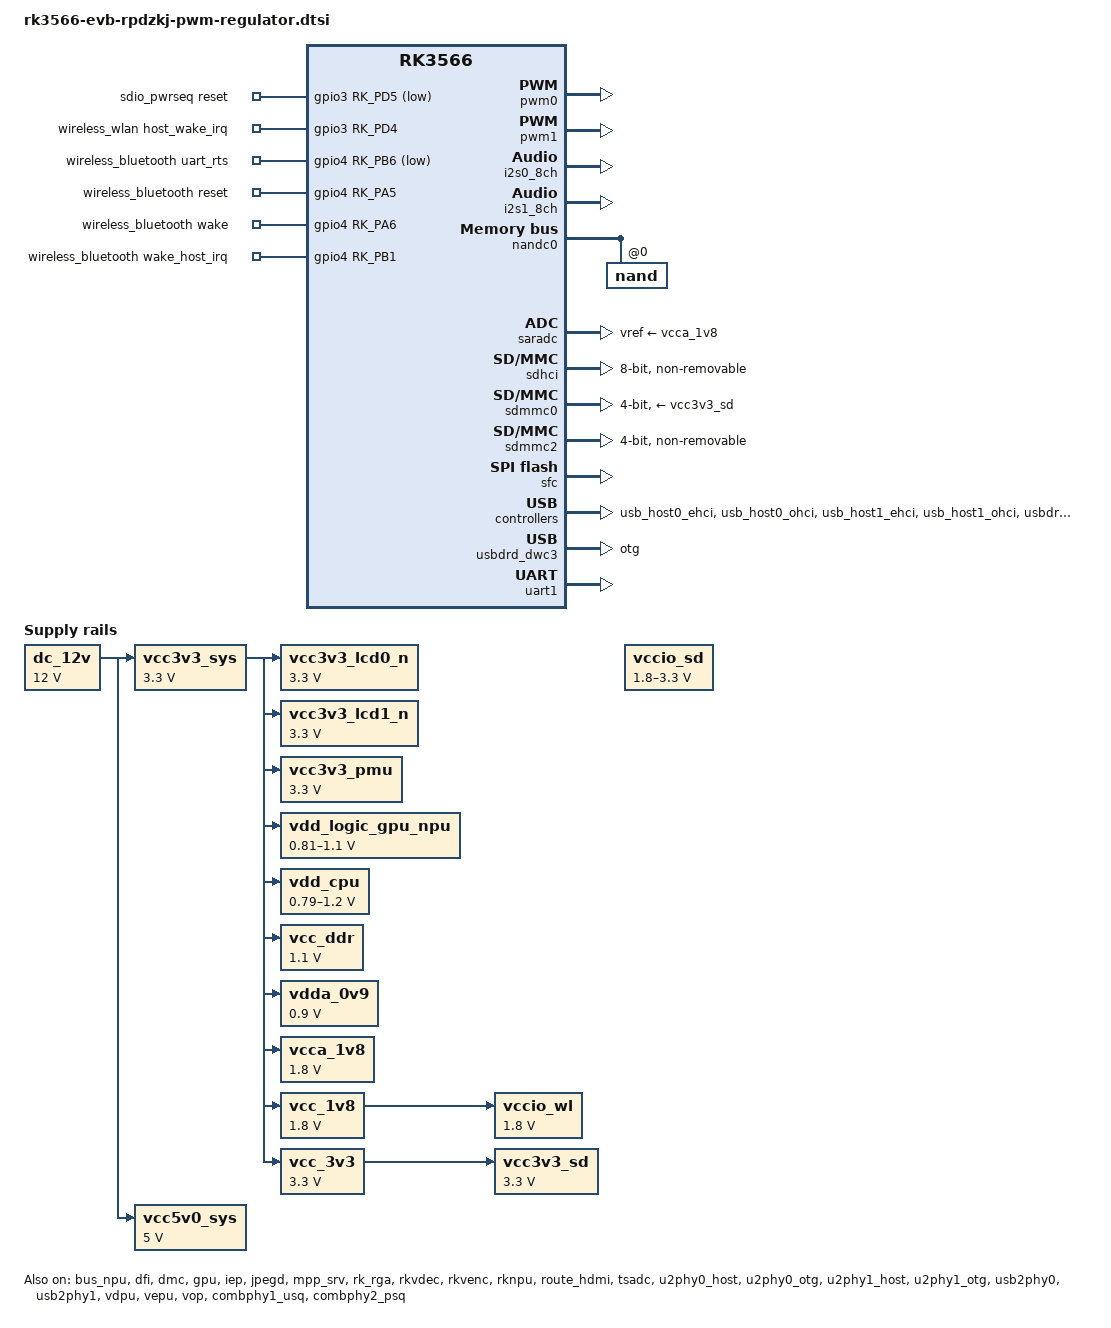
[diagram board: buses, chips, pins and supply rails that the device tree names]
/**
 * configure regulators that for not use rk809
 * 
 * most content of this file is from rk3566-evb1-ddr4-v10.dtsi
 */

#include <dt-bindings/gpio/gpio.h>
#include <dt-bindings/pwm/pwm.h>
#include <dt-bindings/pinctrl/rockchip.h>
#include <dt-bindings/input/rk-input.h>
#include <dt-bindings/display/drm_mipi_dsi.h>
#include <dt-bindings/sensor-dev.h>
#include <dt-bindings/gpio/gpio.h>
#include <dt-bindings/pinctrl/rockchip.h>


#include "rk3566.dtsi"


/ {

        rpdzkj:rpdzkj_config {
                compatible = "rp_config";
                user_version = "rpdzkj";
                system_rotate = "0";
		csi_camera_rotate = "0"; //all csi camera rotation //0 90 180 270 //no effect
		csi_camera_facing = "0"; //0:auto  1:all front   2:all back //no effect
		usb_camera_rotate = "0"; //all usb camera rotation //0 90 180 270 
		usb_camera_facing = "0"; //0:auto  1:all front   2:all back
                lcd_density = "160";
                language = "zh-CN";   //zh-CN //en-US
                time_zone = "Asia/Shanghai"; //Asia/Shanghai = +8   //Europe/London  = +1       //Africa/Casablanca     = +0;
                not_navigation_bar = "false";
                not_status_bar = "false";
                default_launcher = "true";
                has_root = "true";
                usb_not_permission = "true";
                gps_use = "false";
                gps_serial_port = "/dev/ttyS4";
                primary_device = "DSI";
                extend_device = "HDMI-A";
                extend_rotate = "0";
                rotation_efull = "false";
                home_apk = "null";
                status = "okay";
        };
	  
	edp_panel:panel {
		status = "disabled";
	};

	lvds_panel: panel@0 {
		status = "disabled";
	};



	audiopwmout_diff: audiopwmout-diff {
		status = "disabled";
		compatible = "simple-audio-card";
		simple-audio-card,format = "i2s";
		simple-audio-card,name = "rockchip,audiopwmout-diff";
		simple-audio-card,mclk-fs = <256>;
		simple-audio-card,bitclock-master = <&master>;
		simple-audio-card,frame-master = <&master>;
		simple-audio-card,cpu {
			sound-dai = <&i2s3_2ch>;
		};
		master: simple-audio-card,codec {
			sound-dai = <&dig_acodec>;
		};
	};
        
        
        
	rk_headset: rk-headset {
		compatible = "rockchip_headset";
//		headset_gpio = <&gpio1 RK_PB0 GPIO_ACTIVE_HIGH>;
	};
	

	dc_12v: dc-12v {
		compatible = "regulator-fixed";
		regulator-name = "dc_12v";
		regulator-always-on;
		regulator-boot-on;
		regulator-min-microvolt = <12000000>;
		regulator-max-microvolt = <12000000>;
	};

	hdmi_sound: hdmi-sound {
		status = "disabled";
		compatible = "rockchip,hdmi";
		rockchip,mclk-fs = <128>;
		rockchip,card-name = "rockchip,hdmi";
		rockchip,cpu = <&i2s0_8ch>;
		rockchip,codec = <&hdmi>;
	};
/*
	leds: leds {
		compatible = "gpio-leds";
		work_led: work {
			gpios = <&gpio0 RK_PC0 GPIO_ACTIVE_HIGH>;
			linux,default-trigger = "heartbeat";
		};
	};
*/
	pdmics: dummy-codec {
		status = "disabled";
		compatible = "rockchip,dummy-codec";
		#sound-dai-cells = <0>;
	};

	pdm_mic_array: pdm-mic-array {
		status = "disabled";
		compatible = "simple-audio-card";
		simple-audio-card,name = "rockchip,pdm-mic-array";
		simple-audio-card,cpu {
			sound-dai = <&pdm>;
		};
		simple-audio-card,codec {
			sound-dai = <&pdmics>;
		};
	};

	spdif-sound {
		status = "disabled";
		compatible = "simple-audio-card";
		simple-audio-card,name = "ROCKCHIP,SPDIF";
		simple-audio-card,cpu {
				sound-dai = <&spdif_8ch>;
		};
		simple-audio-card,codec {
				sound-dai = <&spdif_out>;
		};
	};

	spdif_out: spdif-out {
			status = "disabled";
			compatible = "linux,spdif-dit";
			#sound-dai-cells = <0>;
	};

	vcc3v3_sys: vcc3v3-sys {
		compatible = "regulator-fixed";
		regulator-name = "vcc3v3_sys";
		regulator-always-on;
		regulator-boot-on;
		regulator-min-microvolt = <3300000>;
		regulator-max-microvolt = <3300000>;
		vin-supply = <&dc_12v>;
	};

	vcc5v0_sys: vcc5v0-sys {
		compatible = "regulator-fixed";
		regulator-name = "vcc5v0_sys";
		regulator-always-on;
		regulator-boot-on;
		regulator-min-microvolt = <5000000>;
		regulator-max-microvolt = <5000000>;
		vin-supply = <&dc_12v>;
	};




	vcc3v3_lcd0_n: vcc3v3-lcd0-n {
		compatible = "regulator-fixed";
		regulator-name = "vcc3v3_lcd0_n";
		regulator-boot-on;
		regulator-min-microvolt = <3300000>;
		regulator-max-microvolt = <3300000>;
		enable-active-high;
//		gpio = <&gpio0 RK_PC7 GPIO_ACTIVE_HIGH>;
		vin-supply = <&vcc3v3_sys>;

		regulator-state-mem {
			regulator-off-in-suspend;
		};
	};

	vcc3v3_lcd1_n: vcc3v3-lcd1-n {
		compatible = "regulator-fixed";
		regulator-name = "vcc3v3_lcd1_n";
		regulator-boot-on;
		regulator-min-microvolt = <3300000>;
		regulator-max-microvolt = <3300000>;
		enable-active-high;
//		gpio = <&gpio0 RK_PC5 GPIO_ACTIVE_HIGH>;
		vin-supply = <&vcc3v3_sys>;

		regulator-state-mem {
			regulator-off-in-suspend;
		};
	};
	sdio_pwrseq: sdio-pwrseq {
		compatible = "mmc-pwrseq-simple";
		//clocks = <&rk809 1>;
		clock-names = "ext_clock";
		pinctrl-names = "default";
		pinctrl-0 = <&wifi_enable_h>;

		/*
		 * On the module itself this is one of these (depending
		 * on the actual card populated):
		 * - SDIO_RESET_L_WL_REG_ON
		 * - PDN (power down when low)
		 */
		post-power-on-delay-ms = <200>;
		reset-gpios = <&gpio3 RK_PD5 GPIO_ACTIVE_LOW>;
	};

	wireless_wlan: wireless-wlan {
		compatible = "wlan-platdata";
		rockchip,grf = <&grf>;
		wifi_chip_type = "ap6398s";
		status = "okay";
	};

	wireless_bluetooth: wireless-bluetooth {
		compatible = "bluetooth-platdata";
		//clocks = <&rk809 1>;
		clock-names = "ext_clock";
		//wifi-bt-power-toggle;
		uart_rts_gpios = <&gpio4 RK_PB6 GPIO_ACTIVE_LOW>;
		pinctrl-names = "default", "rts_gpio";
		pinctrl-0 = <&uart1m1_rtsn>;
		pinctrl-1 = <&uart1_gpios>;
		BT,reset_gpio    = <&gpio4 RK_PA5 GPIO_ACTIVE_HIGH>;
		BT,wake_gpio     = <&gpio4 RK_PA6 GPIO_ACTIVE_HIGH>;
		BT,wake_host_irq = <&gpio4 RK_PB1 GPIO_ACTIVE_HIGH>;
		status = "okay";
	};

	test-power {
		status = "okay";
	};
	
    /**
     * configuration of regulator that no rk809
     */
	vcc3v3_pmu: vcc3v3-pmu {
		compatible = "regulator-fixed";
		regulator-name = "vcc3v3_pmu";
		regulator-always-on;
		regulator-boot-on;
		regulator-min-microvolt = <3300000>;
		regulator-max-microvolt = <3300000>;
		vin-supply = <&vcc3v3_sys>;
       		regulator-state-mem {
            		regulator-on-in-suspend;
        	};
	};

	vdd_logic_gpu_npu: vdd-logic_gpu_npu {
		compatible = "pwm-regulator";
		regulator-always-on;
		regulator-boot-on;
		regulator-name = "vdd_logic_gpu_npu";
		rockchip,pwm_id = <1>;
		pwms = <&pwm1 0 25000 1>;
		regulator-min-microvolt = <810000>;
		regulator-max-microvolt = <1100000>;
		regulator-init-microvolt = <920000>;
//		rockchip,pwm_voltage = <925000>;
		pwm-supply = <&vcc3v3_sys>;
		regulator-state-mem {
		    regulator-off-in-suspend;
		};
	};

	vdd_cpu: vdd-cpu {
                compatible = "pwm-regulator";
                regulator-always-on;
                regulator-boot-on;
                regulator-name = "vdd_cpu";
		rockchip,pwm_id = <0>;
		pwms = <&pwm0 0 25000 1>;
		regulator-min-microvolt = <790000>;
		regulator-max-microvolt = <1200000>;
		regulator-init-microvolt = <925000>;
                pwm-supply = <&vcc3v3_sys>;
                regulator-state-mem {
                    regulator-off-in-suspend;
                };
        };
	
	vcc_ddr: vcc-ddr {
		compatible = "regulator-fixed";
		regulator-name = "vcc_ddr";
		regulator-always-on;
		regulator-boot-on;
		regulator-min-microvolt = <1100000>;
		regulator-max-microvolt = <1100000>;
		vin-supply = <&vcc3v3_sys>;
        	regulator-state-mem {
            		regulator-on-in-suspend;
        	};
	};

	vdda_0v9: vdda-0v9 {
		compatible = "regulator-fixed";
		regulator-name = "vdda_0v9";
		regulator-always-on;
		regulator-boot-on;
		regulator-min-microvolt = <900000>;
		regulator-max-microvolt = <900000>;
		vin-supply = <&vcc3v3_sys>;
		regulator-state-mem {
		    regulator-off-in-suspend;
		};
	};

	vccio_sd: vccio-sd-regulator {
                compatible = "regulator-gpio";
                regulator-name = "vccio_sd";
                regulator-min-microvolt = <1800000>;
                regulator-max-microvolt = <3300000>;
                gpios = <&gpio0 RK_PB0 GPIO_ACTIVE_HIGH>;
                gpios-states = <0x1>;
                states = <1800000 0x0
                          3300000 0x1>;
        };

	vcca_1v8: vcca-1v8 {
		compatible = "regulator-fixed";
		regulator-name = "vcca_1v8";
		regulator-always-on;
		regulator-boot-on;
		regulator-min-microvolt = <1800000>;
		regulator-max-microvolt = <1800000>;
		vin-supply = <&vcc3v3_sys>;
	        regulator-state-mem {
	            regulator-off-in-suspend;
	        };
	};

	vcc_1v8: vcc-1v8 {
		compatible = "regulator-fixed";
		regulator-name = "vcc_1v8";
		regulator-always-on;
		regulator-boot-on;
		regulator-min-microvolt = <1800000>;
		regulator-max-microvolt = <1800000>;
		vin-supply = <&vcc3v3_sys>;
		regulator-state-mem {
		    regulator-off-in-suspend;
		};
	};

	vcc_3v3: vcc-3v3 {
		compatible = "regulator-fixed";
		regulator-name = "vcc_3v3";
		regulator-always-on;
		regulator-boot-on;
		regulator-min-microvolt = <3300000>;
		regulator-max-microvolt = <3300000>;
		vin-supply = <&vcc3v3_sys>;
		regulator-state-mem {
		    regulator-off-in-suspend;
		};
	};
		
	vcc3v3_sd: vcc3v3_sd {
		compatible = "regulator-fixed";
                regulator-name = "vcc_3v3";
                regulator-always-on;
                regulator-boot-on;
                regulator-min-microvolt = <3300000>;
                regulator-max-microvolt = <3300000>;
                vin-supply = <&vcc_3v3>;
                regulator-state-mem {
                    regulator-off-in-suspend;
                };
	};

	vccio_wl: vccio_wl{
		compatible = "regulator-fixed";
		regulator-name = "vccio_wl";
		regulator-always-on;
                regulator-boot-on;
		regulator-min-microvolt = <1800000>;
                regulator-max-microvolt = <1800000>;
                vin-supply = <&vcc_1v8>;
                regulator-state-mem {
                        regulator-off-in-suspend;
                };
	};
};


&pwm0 {
    status = "okay";
    pinctrl-names = "active";
    pinctrl-0 = <&pwm0m0_pins>;
};

&pwm1 {
    status = "okay";
    pinctrl-names = "active";
    pinctrl-0 = <&pwm1m0_pins>;
};

&bus_npu {
	bus-supply = <&vdd_logic_gpu_npu>;
	pvtm-supply = <&vdd_cpu>;
	status = "okay";
};

&cpu0 {
	cpu-supply = <&vdd_cpu>;
};

&dfi {
	status = "okay";
};

&dmc {
	center-supply = <&vdd_logic_gpu_npu>;
	status = "okay";
};



&gpu {
	mali-supply = <&vdd_logic_gpu_npu>;
	status = "okay";
};


&i2s0_8ch {
	status = "okay";
};

&i2s1_8ch {
	status = "okay";
	rockchip,clk-trcm = <1>;
	pinctrl-names = "default";
	pinctrl-0 = <&i2s1m0_sclktx
		     &i2s1m0_lrcktx
		     &i2s1m0_sdi0
		     &i2s1m0_sdo0>;
};

&iep {
	status = "okay";
};

&iep_mmu {
	status = "okay";
};

&jpegd {
	status = "okay";
};

&jpegd_mmu {
	status = "okay";
};

&mpp_srv {
	status = "okay";
};

&nandc0 {
	#address-cells = <1>;
	#size-cells = <0>;
	status = "okay";

	nand@0 {
		reg = <0>;
		nand-bus-width = <8>;
		nand-ecc-mode = "hw";
		nand-ecc-strength = <16>;
		nand-ecc-step-size = <1024>;
	};
};

&pinctrl {
	pmic {
		pmic_int: pmic_int {
			rockchip,pins =
				<0 RK_PA3 RK_FUNC_GPIO &pcfg_pull_up>;
		};

		soc_slppin_gpio: soc_slppin_gpio {
			rockchip,pins =
				<0 RK_PA2 RK_FUNC_GPIO &pcfg_output_low_pull_down>;
		};

		soc_slppin_slp: soc_slppin_slp {
			rockchip,pins =
				<0 RK_PA2 1 &pcfg_pull_up>;
		};

		soc_slppin_rst: soc_slppin_rst {
			rockchip,pins =
				<0 RK_PA2 2 &pcfg_pull_none>;
		};
	};

	sdio-pwrseq {
		wifi_enable_h: wifi-enable-h {
			rockchip,pins = <3 RK_PD5 RK_FUNC_GPIO &pcfg_pull_none>;
		};
	};
/*
	usb {
		vcc5v0_host_en: vcc5v0-host-en {
			rockchip,pins = <0 RK_PA6 RK_FUNC_GPIO &pcfg_pull_none>;
		};

		vcc5v0_otg_en: vcc5v0-otg-en {
			rockchip,pins = <0 RK_PA5 RK_FUNC_GPIO &pcfg_pull_none>;
		};
	};
*/
	wireless-bluetooth {
		uart1_gpios: uart1-gpios {
			rockchip,pins = <4 RK_PB6 RK_FUNC_GPIO &pcfg_pull_none>;
		};
	};
};

 /*
  * There are 10 independent IO domains in RK3566/RK3568, including PMUIO[0:2] and VCCIO[1:7].
  * 1/ PMUIO0 and PMUIO1 are fixed-level power domains which cannot be configured;
  * 2/ PMUIO2 and VCCIO1,VCCIO[3:7] domains require that their hardware power supply voltages
  *    must be consistent with the software configuration correspondingly
  *	a/ When the hardware IO level is connected to 1.8V, the software voltage configuration
  *	   should also be configured to 1.8V accordingly;
  *	b/ When the hardware IO level is connected to 3.3V, the software voltage configuration
  *	   should also be configured to 3.3V accordingly;
  * 3/ VCCIO2 voltage control selection (0xFDC20140)
  *	BIT[0]: 0x0: from GPIO_0A7 (default)
  *	BIT[0]: 0x1: from GRF
  *    Default is determined by Pin FLASH_VOL_SEL/GPIO0_A7:
  *	L:VCCIO2 must supply 3.3V
  *	H:VCCIO2 must supply 1.8V
  */
&pmu_io_domains {
	status = "okay";
	pmuio2-supply = <&vcc3v3_pmu>;
	vccio1-supply = <&vccio_acodec>;
	vccio3-supply = <&vccio_sd>;
	vccio4-supply = <&vcc_3v3>;
	vccio5-supply = <&vcc_3v3>;
	vccio6-supply = <&vcc_3v3>;
	vccio7-supply = <&vcc_3v3>;
};


&rk_rga {
	status = "okay";
};

&rkvdec {
	vdec-supply = <&vdd_logic_gpu_npu>;
	status = "okay";
};

&rkvdec_mmu {
	status = "okay";
};

&rkvenc {
	venc-supply = <&vdd_logic_gpu_npu>;
	status = "okay";
};

&rkvenc_mmu {
	status = "okay";
};

&rknpu {
	rknpu-supply = <&vdd_logic_gpu_npu>;
	status = "okay";
};

&rknpu_mmu {
	status = "okay";
};

&route_hdmi {
	status = "okay";
	connect = <&vp0_out_hdmi>;
};

&saradc {
	status = "okay";
	vref-supply = <&vcca_1v8>;
};

&sdhci {
	bus-width = <8>;
	supports-emmc;
	non-removable;
	max-frequency = <200000000>;
	status = "okay";
};

&sdmmc0 {
	max-frequency = <150000000>;
	supports-sd;
	bus-width = <4>;
	cap-mmc-highspeed;
	cap-sd-highspeed;
	disable-wp;
	sd-uhs-sdr104;
	vmmc-supply = <&vcc3v3_sd>;
	vqmmc-supply = <&vccio_sd>;
	pinctrl-names = "default";
	pinctrl-0 = <&sdmmc0_bus4 &sdmmc0_clk &sdmmc0_cmd &sdmmc0_det>;
	status = "okay";
};

&sdmmc2 {
	max-frequency = <150000000>;
	supports-sdio;
	bus-width = <4>;
	disable-wp;
	cap-sd-highspeed;
	cap-sdio-irq;
	keep-power-in-suspend;
	mmc-pwrseq = <&sdio_pwrseq>;
	non-removable;
	pinctrl-names = "default";
	pinctrl-0 = <&sdmmc2m0_bus4 &sdmmc2m0_cmd &sdmmc2m0_clk>;
	sd-uhs-sdr104;
	status = "okay";
};

&sfc {
	status = "okay";
};

&spdif_8ch {
	status = "disabled";
};

&tsadc {
	status = "okay";
};

&u2phy0_host {
//	phy-supply = <&vcc5v0_host>;
	status = "okay";
};

&u2phy0_otg {
//	vbus-supply = <&vcc5v0_otg>;
	status = "okay";
};

&u2phy1_host {
//	phy-supply = <&vcc5v0_host>;
	status = "okay";
};

&u2phy1_otg {
//	phy-supply = <&vcc5v0_host>;
	status = "okay";
};

&usb2phy0 {
	status = "okay";
};

&usb2phy1 {
	status = "okay";
};

&usb_host0_ehci {
	status = "okay";
};

&usb_host0_ohci {
	status = "okay";
};

&usb_host1_ehci {
	status = "okay";
};

&usb_host1_ohci {
	status = "okay";
};

&usbdrd_dwc3 {
	dr_mode = "otg";
	extcon = <&usb2phy0>;
	status = "okay";
};

&usbdrd30 {
	status = "okay";
};

&usbhost_dwc3 {
	status = "okay";
};

&usbhost30 {
	status = "okay";
};

&vad {
	rockchip,audio-src = <&i2s1_8ch>;
	rockchip,buffer-time-ms = <128>;
	rockchip,det-channel = <0>;
	rockchip,mode = <0>;
};

&vdpu {
	status = "okay";
};

&vdpu_mmu {
	status = "okay";
};

&vepu {
	status = "okay";
};

&vepu_mmu {
	status = "okay";
};

&vop {
	status = "okay";
	assigned-clocks = <&cru DCLK_VOP0>, <&cru DCLK_VOP1>;
	assigned-clock-parents = <&pmucru PLL_HPLL>, <&cru PLL_VPLL>;
};

&vop_mmu {
	status = "okay";
};


&dsi0 {
dsi0_panel: panel@0 {
			status = "disabled";
		};
};

&dsi1 {
dsi1_panel: panel@0 {
			status = "disabled";
		};
};
 
&audiopwmout_diff {
	status = "disabled";
};

&dig_acodec {
	status = "disabled";
	rockchip,pwm-output-mode;
	pinctrl-names = "default";
	pinctrl-0 = <&audiopwm_loutp
		&audiopwm_loutn
		&audiopwm_routp
		&audiopwm_routn
	>;
};
&pdm {
	status = "disabled";
	pinctrl-names = "default";
	pinctrl-0 = <&pdmm1_clk1
		     &pdmm1_sdi1
		     &pdmm1_sdi2
		     &pdmm1_sdi3>;
};

&pdmics {
	status = "disabled";
};

&pdm_mic_array {
	status = "disabled";
};


&combphy1_usq {
	status = "okay";
};

&combphy2_psq {
	status = "okay";
};



&uart1 {
	status = "okay";
	pinctrl-names = "default";
	pinctrl-0 = <&uart1m1_xfer &uart1m1_ctsn>;
};



&wireless_bluetooth {
	uart_rts_gpios = <&gpio4 RK_PB6 GPIO_ACTIVE_LOW>;
	pinctrl-names = "default", "rts_gpio";
	pinctrl-0 = <&uart1m1_rtsn>;
	pinctrl-1 = <&uart1_gpios>;
	BT,reset_gpio    = <&gpio4 RK_PA5 GPIO_ACTIVE_HIGH>;
	BT,wake_gpio     = <&gpio4 RK_PA6 GPIO_ACTIVE_HIGH>;
	BT,wake_host_irq = <&gpio4 RK_PB1 GPIO_ACTIVE_HIGH>;
	status = "okay";
};

&wireless_wlan {
	pinctrl-names = "default";
	pinctrl-0 = <&wifi_host_wake_irq>;
	WIFI,host_wake_irq = <&gpio3 RK_PD4 GPIO_ACTIVE_HIGH>;
};

&pinctrl {
	cam {
		camera_pwr: camera-pwr {
			rockchip,pins =
				/* camera power en */
				<0 RK_PC1 RK_FUNC_GPIO &pcfg_pull_none>;
		};
	};

	headphone {
		hp_det: hp-det {
			rockchip,pins = <3 RK_PA1 RK_FUNC_GPIO &pcfg_pull_down>;
		};
	};

	wireless-wlan {
		wifi_host_wake_irq: wifi-host-wake-irq {
			rockchip,pins = <3 RK_PD4 RK_FUNC_GPIO &pcfg_pull_down>;
		};
	};

	wireless-bluetooth {
		uart1_gpios: uart1-gpios {
			rockchip,pins = <4 RK_PB6 RK_FUNC_GPIO &pcfg_pull_none>;
		};
	};
};
